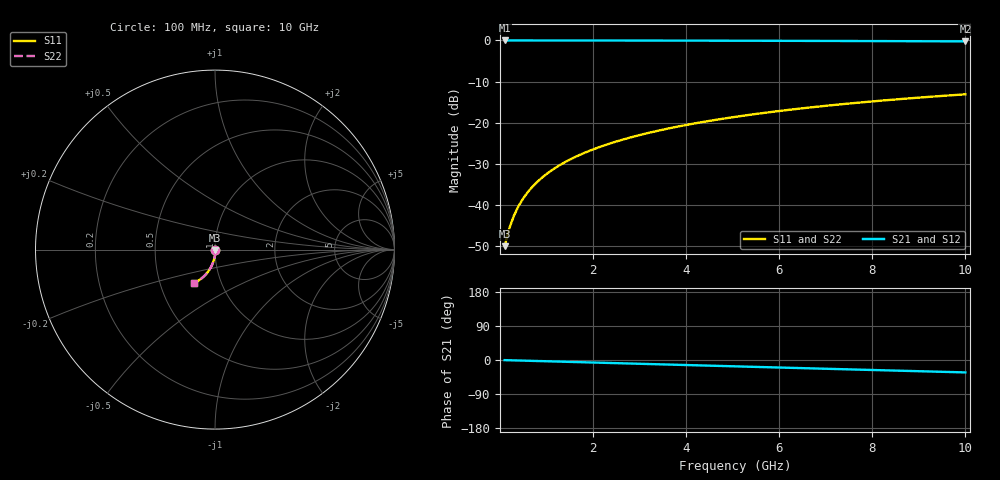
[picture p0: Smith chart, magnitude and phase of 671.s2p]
# Hz S RI R 50.00
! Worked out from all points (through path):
!   100 points, 100 MHz to 10 GHz, reference 50 ohm
!   highest |S21| = -0.02 dB at 100 MHz (marker M1); lowest = -0.2 dB at 10 GHz (marker M2)
!   group delay of S21, straight-line fit = 9.11 ps
!   lowest |S11| = -50.0 dB at 100 MHz (marker M3), VSWR 1.01, Z = 50.2 - j0.239 ohm
!   |S11| at or under -10 dB: start of sweep to end of sweep
!   |S22| runs from -50.0 to -13.1 dB; largest |S21 - S12| = 0
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1e8  0.00207 -0.00238  0.9979 -0.00579  0.9979 -0.00579  0.00207 -0.00238
2e8  0.00204 -0.00476  0.9978 -0.0116  0.9978 -0.0116  0.00204 -0.00476
3e8  0.00198 -0.00714  0.9977 -0.0174  0.9977 -0.0174  0.00198 -0.00714
4e8  0.00188 -0.00951  0.9975 -0.0232  0.9975 -0.0232  0.00188 -0.00951
5e8  0.00176 -0.0119  0.9974 -0.0289  0.9974 -0.0289  0.00176 -0.0119
6e8  0.00161 -0.0143  0.9971 -0.0347  0.9971 -0.0347  0.00161 -0.0143
7e8  0.00144 -0.0166  0.9969 -0.0405  0.9969 -0.0405  0.00144 -0.0166
8e8  0.00123 -0.019  0.9966 -0.0463  0.9966 -0.0463  0.00123 -0.019
9e8  0.001 -0.0214  0.9962 -0.0521  0.9962 -0.0521  0.001 -0.0214
1.1e9  0.000453 -0.0261  0.9954 -0.0636  0.9954 -0.0636  0.000453 -0.0261
1.4e9  -0.000576 -0.0332  0.9939 -0.0809  0.9939 -0.0809  -0.000576 -0.0332
1.8e9  -0.00233 -0.0425  0.9914 -0.1039  0.9914 -0.1039  -0.00233 -0.0425
2.1e9  -0.00392 -0.0495  0.9891 -0.1211  0.9891 -0.1211  -0.00392 -0.0495
2.5e9  -0.00642 -0.0586  0.9855 -0.1439  0.9855 -0.1439  -0.00642 -0.0586
2.9e9  -0.00934 -0.0677  0.9813 -0.1665  0.9813 -0.1665  -0.00934 -0.0677
3.4e9  -0.0136 -0.0787  0.9752 -0.1946  0.9752 -0.1946  -0.0136 -0.0787
4.2e9  -0.0216 -0.0958  0.9635 -0.239  0.9635 -0.239  -0.0216 -0.0958
5.1e9  -0.0325 -0.1141  0.9477 -0.2879  0.9477 -0.2879  -0.0325 -0.1141
5.9e9  -0.0436 -0.1292  0.9313 -0.3302  0.9313 -0.3302  -0.0436 -0.1292
6.7e9  -0.056 -0.1432  0.9128 -0.3713  0.9128 -0.3713  -0.056 -0.1432
8.4e9  -0.0861 -0.1687  0.8673 -0.4543  0.8673 -0.4543  -0.0861 -0.1687
1e10  -0.1179 -0.1869  0.8175 -0.5263  0.8175 -0.5263  -0.1179 -0.1869
